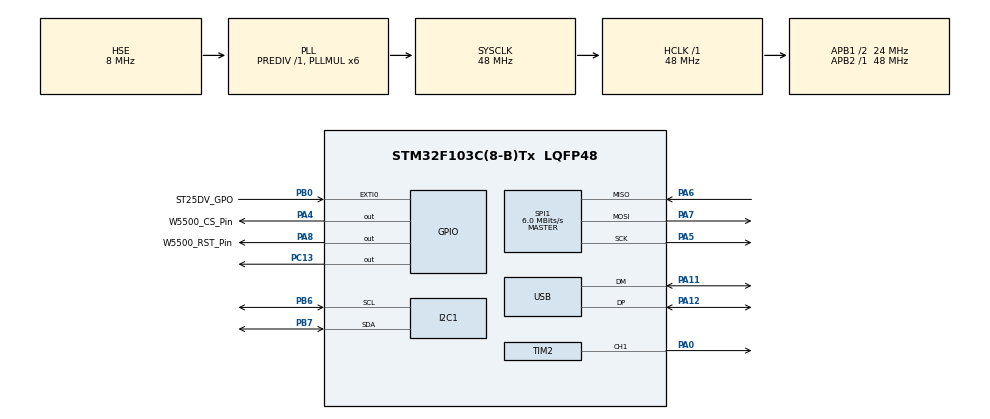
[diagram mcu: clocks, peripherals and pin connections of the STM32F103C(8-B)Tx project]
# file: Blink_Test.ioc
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Dma.Request0=TIM2_CH1
Dma.TIM2_CH1.0.Direction=DMA_MEMORY_TO_PERIPH
Dma.TIM2_CH1.0.Instance=DMA1_Channel5
Dma.TIM2_CH1.0.MemDataAlignment=DMA_MDATAALIGN_HALFWORD
Dma.TIM2_CH1.0.MemInc=DMA_MINC_ENABLE
Dma.TIM2_CH1.0.Mode=DMA_NORMAL
Dma.TIM2_CH1.0.PeriphDataAlignment=DMA_PDATAALIGN_HALFWORD
Dma.TIM2_CH1.0.PeriphInc=DMA_PINC_DISABLE
Dma.TIM2_CH1.0.Priority=DMA_PRIORITY_LOW
I2C1.I2C_Mode=I2C_Standard
Mcu.Family=STM32F1
Mcu.Name=STM32F103C(8-B)Tx
Mcu.Package=LQFP48
NVIC.DMA1_Channel5_IRQn=true\:0\:0\:false\:false\:true\:false\:true\:true
NVIC.EXTI0_IRQn=true\:0\:0\:false\:false\:true\:true\:true\:true
NVIC.PriorityGroup=NVIC_PRIORITYGROUP_4
NVIC.USB_LP_CAN1_RX0_IRQn=true\:0\:0\:false\:false\:true\:false\:true\:true
PA0-WKUP.Signal=S_TIM2_CH1_ETR
PA11.Mode=Device
PA11.Signal=USB_DM
PA12.Mode=Device
PA12.Signal=USB_DP
PA13.Mode=Serial_Wire
PA13.Signal=SYS_JTMS-SWDIO
PA14.Mode=Serial_Wire
PA14.Signal=SYS_JTCK-SWCLK
PA4.GPIO_Label=W5500_CS_Pin
PA4.Signal=GPIO_Output
PA5.Mode=Full_Duplex_Master
PA5.Signal=SPI1_SCK
PA6.Mode=Full_Duplex_Master
PA6.Signal=SPI1_MISO
PA7.Mode=Full_Duplex_Master
PA7.Signal=SPI1_MOSI
PA8.GPIO_Label=W5500_RST_Pin
PA8.Signal=GPIO_Output
PB0.GPIO_Label=ST25DV_GPO
PB0.GPIO_ModeDefaultEXTI=GPIO_MODE_IT_FALLING
PB0.GPIO_PuPd=GPIO_PULLUP
PB0.Signal=GPXTI0
PB6.Mode=I2C
PB6.Signal=I2C1_SCL
PB7.Mode=I2C
PB7.Signal=I2C1_SDA
PC13-TAMPER-RTC.Signal=GPIO_Output
PD0-OSC_IN.Mode=HSE-External-Oscillator
PD0-OSC_IN.Signal=RCC_OSC_IN
PD1-OSC_OUT.Mode=HSE-External-Oscillator
PD1-OSC_OUT.Signal=RCC_OSC_OUT
ProjectManager.HeapSize=0x200
ProjectManager.StackSize=0x400
ProjectManager.TargetToolchain=STM32CubeIDE
RCC.AHBFreq_Value=48000000
RCC.APB1CLKDivider=RCC_HCLK_DIV2
RCC.APB1Freq_Value=24000000
RCC.APB1TimFreq_Value=48000000
RCC.APB2Freq_Value=48000000
RCC.APB2TimFreq_Value=48000000
RCC.HCLKFreq_Value=48000000
RCC.PLLMUL=RCC_PLL_MUL6
RCC.SYSCLKFreq_VALUE=48000000
RCC.SYSCLKSource=RCC_SYSCLKSOURCE_PLLCLK
RCC.USBFreq_Value=48000000
SH.S_TIM2_CH1_ETR.0=TIM2_CH1,PWM Generation1 CH1
SPI1.BaudRatePrescaler=SPI_BAUDRATEPRESCALER_8
SPI1.CLKPhase=SPI_PHASE_1EDGE
SPI1.CLKPolarity=SPI_POLARITY_LOW
SPI1.CalculateBaudRate=6.0 MBits/s
SPI1.Direction=SPI_DIRECTION_2LINES
SPI1.Mode=SPI_MODE_MASTER
SPI1.VirtualType=VM_MASTER
TIM2.Channel-PWM\ Generation1\ CH1=TIM_CHANNEL_1
TIM2.CounterMode=TIM_COUNTERMODE_UP
TIM2.Period=59
USB_DEVICE.CLASS_NAME_FS=CDC
USB_DEVICE.VirtualMode=Cdc
USB_DEVICE.VirtualModeFS=Cdc_FS
VP_USB_DEVICE_VS_USB_DEVICE_CDC_FS.Mode=CDC_FS
board=custom

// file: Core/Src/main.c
/* USER CODE BEGIN Header */
/**
 ******************************************************************************
 * @file           : main.c
 * @brief          : Main program body
 ******************************************************************************
 * @attention
 *
 * Copyright (c) 2026 STMicroelectronics.
 * All rights reserved.
 *
 * This software is licensed under terms that can be found in the LICENSE file
 * in the root directory of this software component.
 * If no LICENSE file comes with this software, it is provided AS-IS.
 *
 ******************************************************************************
 */
/* USER CODE END Header */
#include "main.h"
#include "usb_device.h"

/* USER CODE BEGIN Includes */
#include "usbd_cdc_if.h"
#include <string.h>
#include "wizchip_conf.h"
#include "socket.h"
#include "app_usb_log.h"
#include "app_led.h"
#include "app_nfc.h"
#include "app_ethernet.h"

#include <stdbool.h>
#include <ws2812b.h>

extern volatile uint8_t rx_flag;
extern uint8_t rx_data;

/* USER CODE END Includes */

I2C_HandleTypeDef hi2c1;

SPI_HandleTypeDef hspi1;

TIM_HandleTypeDef htim2;
DMA_HandleTypeDef hdma_tim2_ch1;

/* USER CODE BEGIN PV */

EditTarget_t current_edit_target = EDIT_BRIGHTNESS; ////ДЛЯ РЕЖИМОВ

volatile uint8_t global_brightness = 50;
volatile uint8_t global_hue = 127;
volatile uint8_t global_speed = 30;
volatile uint8_t nfc_event_flag = 0;

/* USER CODE END PV */

void SystemClock_Config(void);
static void MX_GPIO_Init(void);
static void MX_DMA_Init(void);
static void MX_SPI1_Init(void);
static void MX_TIM2_Init(void);
static void MX_I2C1_Init(void);

int main(void)
{

  /* MCU Configuration--------------------------------------------------------*/

  /* Reset of all peripherals, Initializes the Flash interface and the Systick. */
  HAL_Init();

  /* Configure the system clock */
  SystemClock_Config();

  /* Initialize all configured peripherals */
  MX_GPIO_Init();
  MX_DMA_Init();
  MX_USB_DEVICE_Init();
  MX_SPI1_Init();
  MX_TIM2_Init();
  MX_I2C1_Init();
  /* USER CODE BEGIN 2 */
    App_NFC_Init();
    WS2812_Init();
	App_Ethernet_Init();

  /* USER CODE END 2 */

  /* Infinite loop */
  /* USER CODE BEGIN WHILE */

	while (1) {

		App_NFC_Process_Settings();
		WS2812_Process_Dynamic_Run();
		App_Ethernet_Process();

	}

    /* USER CODE END WHILE */

}

void SystemClock_Config(void)
{
  RCC_OscInitTypeDef RCC_OscInitStruct = {0};
  RCC_ClkInitTypeDef RCC_ClkInitStruct = {0};
  RCC_PeriphCLKInitTypeDef PeriphClkInit = {0};

  /** Initializes the RCC Oscillators according to the specified parameters
  * in the RCC_OscInitTypeDef structure.
  */
  RCC_OscInitStruct.OscillatorType = RCC_OSCILLATORTYPE_HSE;
  RCC_OscInitStruct.HSEState = RCC_HSE_ON;
  RCC_OscInitStruct.HSEPredivValue = RCC_HSE_PREDIV_DIV1;
  RCC_OscInitStruct.HSIState = RCC_HSI_ON;
  RCC_OscInitStruct.PLL.PLLState = RCC_PLL_ON;
  RCC_OscInitStruct.PLL.PLLSource = RCC_PLLSOURCE_HSE;
  RCC_OscInitStruct.PLL.PLLMUL = RCC_PLL_MUL6;
  if (HAL_RCC_OscConfig(&RCC_OscInitStruct) != HAL_OK)
  {
    Error_Handler();
  }

  /** Initializes the CPU, AHB and APB buses clocks
  */
  RCC_ClkInitStruct.ClockType = RCC_CLOCKTYPE_HCLK|RCC_CLOCKTYPE_SYSCLK
                              |RCC_CLOCKTYPE_PCLK1|RCC_CLOCKTYPE_PCLK2;
  RCC_ClkInitStruct.SYSCLKSource = RCC_SYSCLKSOURCE_PLLCLK;
  RCC_ClkInitStruct.AHBCLKDivider = RCC_SYSCLK_DIV1;
  RCC_ClkInitStruct.APB1CLKDivider = RCC_HCLK_DIV2;
  RCC_ClkInitStruct.APB2CLKDivider = RCC_HCLK_DIV1;

  if (HAL_RCC_ClockConfig(&RCC_ClkInitStruct, FLASH_LATENCY_1) != HAL_OK)
  {
    Error_Handler();
  }
  PeriphClkInit.PeriphClockSelection = RCC_PERIPHCLK_USB;
  PeriphClkInit.UsbClockSelection = RCC_USBCLKSOURCE_PLL;
  if (HAL_RCCEx_PeriphCLKConfig(&PeriphClkInit) != HAL_OK)
  {
    Error_Handler();
  }
}

static void MX_I2C1_Init(void)
{

  hi2c1.Instance = I2C1;
  hi2c1.Init.ClockSpeed = 100000;
  hi2c1.Init.DutyCycle = I2C_DUTYCYCLE_2;
  hi2c1.Init.OwnAddress1 = 0;
  hi2c1.Init.AddressingMode = I2C_ADDRESSINGMODE_7BIT;
  hi2c1.Init.DualAddressMode = I2C_DUALADDRESS_DISABLE;
  hi2c1.Init.OwnAddress2 = 0;
  hi2c1.Init.GeneralCallMode = I2C_GENERALCALL_DISABLE;
  hi2c1.Init.NoStretchMode = I2C_NOSTRETCH_DISABLE;
  if (HAL_I2C_Init(&hi2c1) != HAL_OK)
  {
    Error_Handler();
  }

}

static void MX_SPI1_Init(void)
{

  /* SPI1 parameter configuration*/
  hspi1.Instance = SPI1;
  hspi1.Init.Mode = SPI_MODE_MASTER;
  hspi1.Init.Direction = SPI_DIRECTION_2LINES;
  hspi1.Init.DataSize = SPI_DATASIZE_8BIT;
  hspi1.Init.CLKPolarity = SPI_POLARITY_LOW;
  hspi1.Init.CLKPhase = SPI_PHASE_1EDGE;
  hspi1.Init.NSS = SPI_NSS_SOFT;
  hspi1.Init.BaudRatePrescaler = SPI_BAUDRATEPRESCALER_8;
  hspi1.Init.FirstBit = SPI_FIRSTBIT_MSB;
  hspi1.Init.TIMode = SPI_TIMODE_DISABLE;
  hspi1.Init.CRCCalculation = SPI_CRCCALCULATION_DISABLE;
  hspi1.Init.CRCPolynomial = 10;
  if (HAL_SPI_Init(&hspi1) != HAL_OK)
  {
    Error_Handler();
  }

}

static void MX_TIM2_Init(void)
{

  TIM_MasterConfigTypeDef sMasterConfig = {0};
  TIM_OC_InitTypeDef sConfigOC = {0};

  htim2.Instance = TIM2;
  htim2.Init.Prescaler = 0;
  htim2.Init.CounterMode = TIM_COUNTERMODE_UP;
  htim2.Init.Period = 59;
  htim2.Init.ClockDivision = TIM_CLOCKDIVISION_DIV1;
  htim2.Init.AutoReloadPreload = TIM_AUTORELOAD_PRELOAD_DISABLE;
  if (HAL_TIM_PWM_Init(&htim2) != HAL_OK)
  {
    Error_Handler();
  }
  sMasterConfig.MasterOutputTrigger = TIM_TRGO_RESET;
  sMasterConfig.MasterSlaveMode = TIM_MASTERSLAVEMODE_DISABLE;
  if (HAL_TIMEx_MasterConfigSynchronization(&htim2, &sMasterConfig) != HAL_OK)
  {
    Error_Handler();
  }
  sConfigOC.OCMode = TIM_OCMODE_PWM1;
  sConfigOC.Pulse = 0;
  sConfigOC.OCPolarity = TIM_OCPOLARITY_HIGH;
  sConfigOC.OCFastMode = TIM_OCFAST_DISABLE;
  if (HAL_TIM_PWM_ConfigChannel(&htim2, &sConfigOC, TIM_CHANNEL_1) != HAL_OK)
  {
    Error_Handler();
  }
  HAL_TIM_MspPostInit(&htim2);

}

static void MX_DMA_Init(void)
{

  /* DMA controller clock enable */
  __HAL_RCC_DMA1_CLK_ENABLE();

  /* DMA interrupt init */
  /* DMA1_Channel5_IRQn interrupt configuration */
  HAL_NVIC_SetPriority(DMA1_Channel5_IRQn, 0, 0);
  HAL_NVIC_EnableIRQ(DMA1_Channel5_IRQn);

}

static void MX_GPIO_Init(void)
{
  GPIO_InitTypeDef GPIO_InitStruct = {0};

  /* GPIO Ports Clock Enable */
  __HAL_RCC_GPIOC_CLK_ENABLE();
  __HAL_RCC_GPIOD_CLK_ENABLE();
  __HAL_RCC_GPIOA_CLK_ENABLE();
  __HAL_RCC_GPIOB_CLK_ENABLE();

  /*Configure GPIO pin Output Level */
  HAL_GPIO_WritePin(GPIOC, GPIO_PIN_13, GPIO_PIN_RESET);

  /*Configure GPIO pin Output Level */
  HAL_GPIO_WritePin(GPIOA, W5500_CS_Pin_Pin|W5500_RST_Pin_Pin, GPIO_PIN_RESET);

  /*Configure GPIO pin : PC13 */
  GPIO_InitStruct.Pin = GPIO_PIN_13;
  GPIO_InitStruct.Mode = GPIO_MODE_OUTPUT_PP;
  GPIO_InitStruct.Pull = GPIO_NOPULL;
  GPIO_InitStruct.Speed = GPIO_SPEED_FREQ_LOW;
  HAL_GPIO_Init(GPIOC, &GPIO_InitStruct);

  /*Configure GPIO pins : W5500_CS_Pin_Pin W5500_RST_Pin_Pin */
  GPIO_InitStruct.Pin = W5500_CS_Pin_Pin|W5500_RST_Pin_Pin;
  GPIO_InitStruct.Mode = GPIO_MODE_OUTPUT_PP;
  GPIO_InitStruct.Pull = GPIO_NOPULL;
  GPIO_InitStruct.Speed = GPIO_SPEED_FREQ_LOW;
  HAL_GPIO_Init(GPIOA, &GPIO_InitStruct);

  /*Configure GPIO pin : ST25DV_GPO_Pin */
  GPIO_InitStruct.Pin = ST25DV_GPO_Pin;
  GPIO_InitStruct.Mode = GPIO_MODE_IT_FALLING;
  GPIO_InitStruct.Pull = GPIO_PULLUP;
  HAL_GPIO_Init(ST25DV_GPO_GPIO_Port, &GPIO_InitStruct);

  /* EXTI interrupt init*/
  HAL_NVIC_SetPriority(EXTI0_IRQn, 0, 0);
  HAL_NVIC_EnableIRQ(EXTI0_IRQn);

}

/* USER CODE BEGIN 4 */
void HAL_GPIO_EXTI_Callback(uint16_t GPIO_Pin) {
    if (GPIO_Pin == ST25DV_GPO_Pin) {
        nfc_event_flag = 1;
        HAL_GPIO_TogglePin(GPIOC, GPIO_PIN_13); // Мигнуть диодом
    }
}

/* USER CODE END 4 */

void Error_Handler(void)
{
	__disable_irq();
	while (1) {
	}
}
